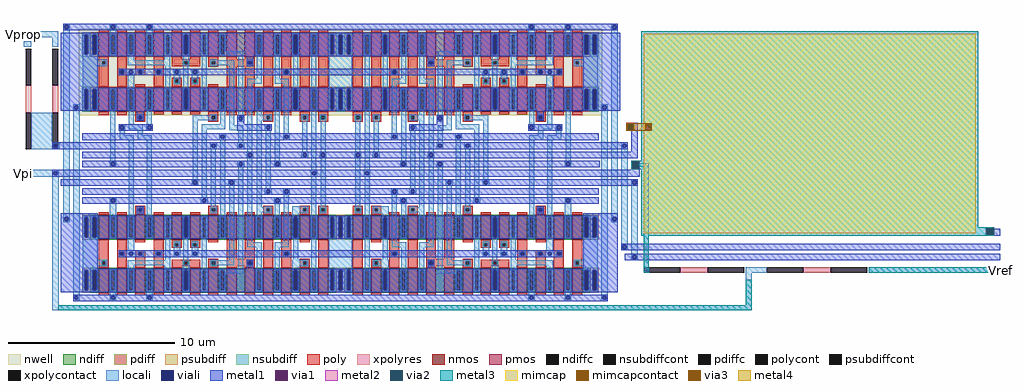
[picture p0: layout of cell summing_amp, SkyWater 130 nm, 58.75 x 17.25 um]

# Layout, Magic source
magic
tech sky130A
<< locali >>
rect -220 1590 -15 1625
rect -220 1530 -175 1565
rect -50 1530 -15 1590
rect -175 955 -50 1135
rect -175 945 -5 955
rect -175 925 -40 945
rect -20 925 -5 945
rect -175 915 -5 925
rect 3445 830 3480 835
rect 3445 810 3450 830
rect 3470 810 3540 830
rect 3445 805 3480 810
rect -220 780 -10 790
rect -220 760 -40 780
rect -20 760 -10 780
rect -220 750 -10 760
rect -50 -25 -10 750
rect 3510 205 3540 810
rect 3510 170 3545 205
rect 4125 170 4250 205
rect 4865 170 5655 205
rect 4125 -25 4160 170
rect -50 -55 4160 -25
<< viali >>
rect -40 925 -20 945
rect 3450 810 3470 830
rect -40 760 -20 780
<< metal1 >>
rect -50 945 895 955
rect -50 925 -40 945
rect -20 925 895 945
rect -50 915 895 925
rect -50 780 10 790
rect -50 760 -40 780
rect -20 760 10 780
rect -50 750 10 760
<< metal3 >>
rect 3510 205 3540 830
rect 3510 170 3545 205
rect 4865 170 5655 205
rect 4125 -25 4160 130
rect -15 -55 4160 -25
use 10k_res  10k_res_3
transform 1 0 -210 0 1 915
box 0 0 35 615
use 10k_res  10k_res_2
transform 0 1 4250 -1 0 205
box 0 0 35 615
use 10k_res  10k_res_1
transform 0 1 3510 -1 0 205
box 0 0 35 615
use 10k_res  10k_res_0
transform 1 0 -50 0 1 915
box 0 0 35 615
use opamp  opamp_0 ~/Desktop/MADVLSI_final/layout
transform 1 0 230 0 1 -30
box -230 30 5425 1700
<< labels >>
rlabel locali -220 1605 -220 1605 7 Vprop
port 1 w
rlabel locali -220 1550 -220 1550 7 Vint
port 2 w
rlabel locali 5655 185 5655 185 3 Vref
port 3 e
rlabel locali -220 770 -220 770 7 Vpi
port 4 w
<< end >>

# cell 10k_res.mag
magic
tech sky130A
<< xpolycontact >>
rect 0 385 35 605
rect 0 0 35 220
<< xpolyres >>
rect 0 220 35 385
<< end >>

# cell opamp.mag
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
